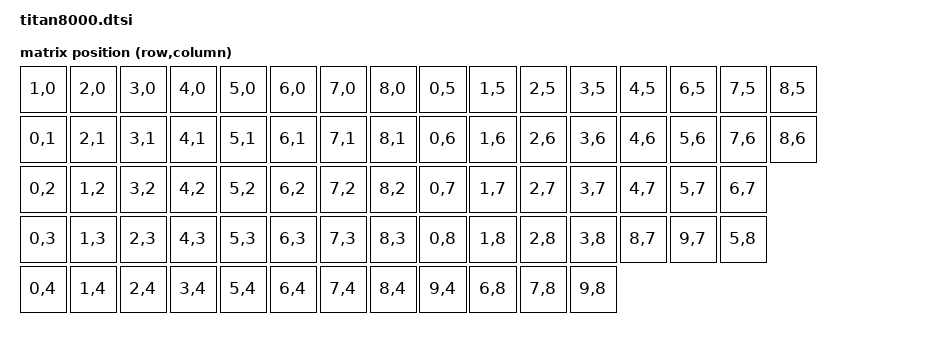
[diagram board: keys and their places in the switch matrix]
#include <dt-bindings/zmk/matrix_transform.h>
#include "titan8000-layouts.dtsi"
#include "titan8000-soft-off.dtsi"

/ {
	kscan0: kscan {
		compatible = "titan8000,kscan-gpio-charlieplex";

		status = "okay";

    	gpios
      	= <&xiao_d 0 (GPIO_ACTIVE_LOW | GPIO_PULL_UP)>
      	, <&xiao_d 1 (GPIO_ACTIVE_LOW | GPIO_PULL_UP)>
      	, <&xiao_d 2 (GPIO_ACTIVE_LOW | GPIO_PULL_UP)>
    	, <&xiao_d 3 (GPIO_ACTIVE_LOW | GPIO_PULL_UP)>
      	, <&xiao_d 4 (GPIO_ACTIVE_LOW | GPIO_PULL_UP)>
      	, <&xiao_d 5 (GPIO_ACTIVE_LOW | GPIO_PULL_UP)>
      	, <&xiao_d 6 (GPIO_ACTIVE_LOW | GPIO_PULL_UP)>
      	, <&xiao_d 7 (GPIO_ACTIVE_LOW | GPIO_PULL_UP)>
      	, <&xiao_d 8 (GPIO_ACTIVE_LOW | GPIO_PULL_UP)>
      	, <&xiao_d 9 (GPIO_ACTIVE_LOW | GPIO_PULL_UP)>;

		/*
		 * Board-specific overlays/dtsi provide:
		 * - compatible
		 * - interrupt-gpios
		 * - debounce/poll tuning
		 */
	};

	default_transform: keymap_transform_0 {
		compatible = "zmk,matrix-transform";
		rows = <5>;
		columns = <16>;
		map = <
			RC(1,0) RC(2,0) RC(3,0) RC(4,0) RC(5,0) RC(6,0) RC(7,0) RC(8,0) RC(0,5) RC(1,5) RC(2,5) RC(3,5) RC(4,5) RC(6,5) RC(7,5) RC(8,5)
			RC(0,1) RC(2,1) RC(3,1) RC(4,1) RC(5,1) RC(6,1) RC(7,1) RC(8,1) RC(0,6) RC(1,6) RC(2,6) RC(3,6) RC(4,6) RC(5,6) RC(7,6) RC(8,6)
			RC(0,2) RC(1,2) RC(3,2) RC(4,2) RC(5,2) RC(6,2) RC(7,2) RC(8,2) RC(0,7) RC(1,7) RC(2,7) RC(3,7) RC(4,7) RC(5,7) RC(6,7)
			RC(0,3) RC(1,3) RC(2,3) RC(4,3) RC(5,3) RC(6,3) RC(7,3) RC(8,3) RC(0,8) RC(1,8) RC(2,8) RC(3,8) RC(8,7) RC(9,7) RC(5,8)
			RC(0,4) RC(1,4) RC(2,4) RC(3,4) RC(5,4) RC(6,4) RC(7,4) RC(8,4) RC(9,4) RC(6,8) RC(7,8) RC(9,8)
	>;
	};
};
